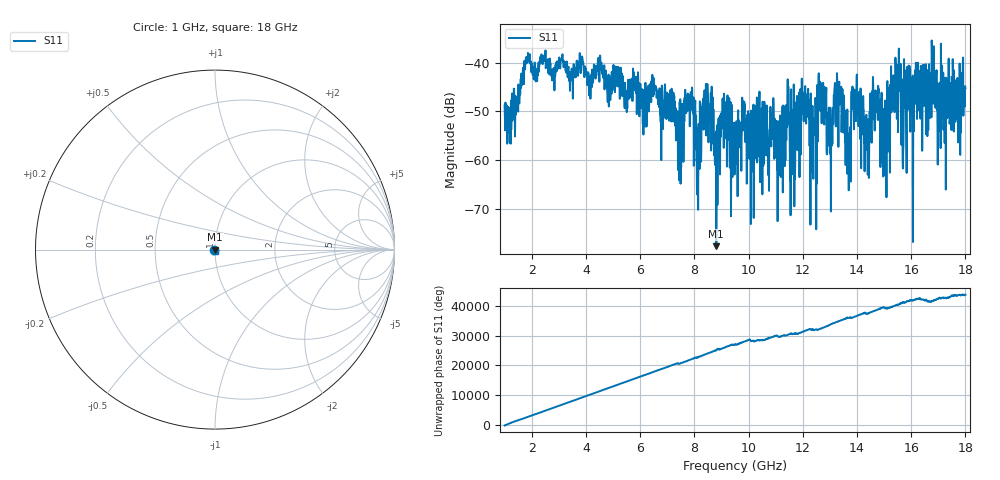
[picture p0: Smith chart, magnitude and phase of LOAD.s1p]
!Keysight Technologies N9917A: A.09.53
!Date: Thursday, 10 October 2019 13:31:11
!TimeZone: (UTC-08:00) Pacific Time (US & Canada)!Model: N9917A
!Serial: MY56072049
!GPS Latitude:
!GPS Longitude:
!GPS TimeStamp: 0001-01-01 00:00:00Z
!GPS Seconds Since Last Read: 0
!CHECKSUM:0412827352
!Correction: S11(ON U)
!S1P File: Measurement: S11:
# Hz S DB R 50
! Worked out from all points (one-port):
!   1601 points, 1 GHz to 18 GHz, reference 50 ohm
!   lowest |S11| = -77.7 dB at 8.809 GHz (marker M1), VSWR 1.00, Z = 50 - j0.00418 ohm
!   |S11| at or under -10 dB: start of sweep to end of sweep
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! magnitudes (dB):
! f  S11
! 1 GHz  -48.8
! 1.85 GHz  -39.9
! 3.125 GHz  -38.8
! 5.25 GHz  -47.4
! 7.173 GHz  -45.7
! 7.375 GHz  -55.2
! 7.832 GHz  -53.1
! 8.161 GHz  -52.6
! 8.416 GHz  -51.6
! 8.809 GHz  -77.7
! 9.107 GHz  -49.4
! 9.5 GHz  -53.9
! 9.84 GHz  -48.0
! 10.11 GHz  -57.6
! 11.62 GHz  -52.0
! 12.03 GHz  -51.7
! 12.44 GHz  -54.2
! 12.67 GHz  -46.9
! 12.96 GHz  -49.2
! 13.34 GHz  -45.2
! 13.75 GHz  -53.2
! 14.06 GHz  -53.0
! 14.37 GHz  -54.1
! 14.75 GHz  -48.3
! 15.01 GHz  -54.0
! 15.48 GHz  -48.3
! 15.88 GHz  -41.8
! 18 GHz  -45.2
